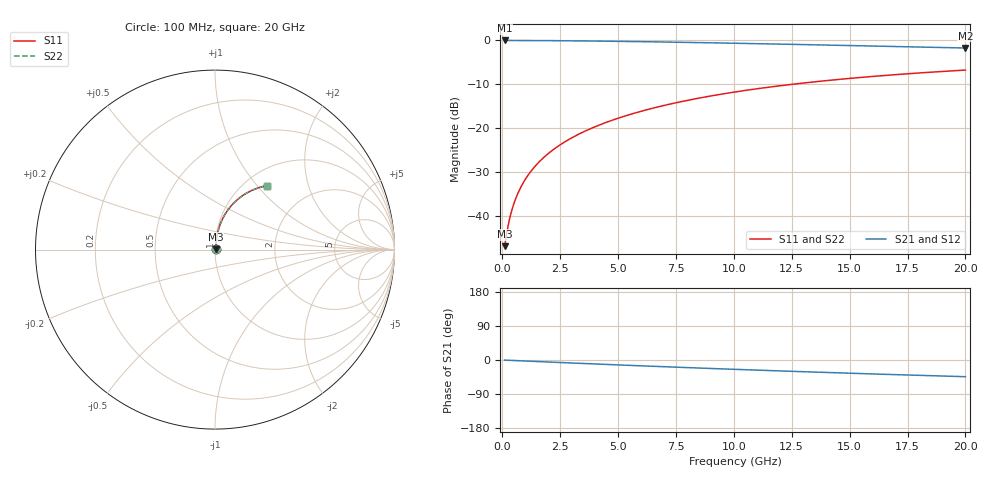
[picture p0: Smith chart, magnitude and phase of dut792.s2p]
! Touchstone file exported from HFSS 2024.1.0
!  File:  C:/UserFiles/LocalFiles/RDL_TSV_Batchsim/temp_RDL_top_792_1779853422.aedt
!  Generated:  11:46:14 AM May 27, 2026
!  Design:  RDL_top
!  Project:  temp_RDL_top_792_1779853422
!  Setup:  Setup1
!  Solution:  Sweep
! Variables:
!  dtsv = 10.80580581um
!  hbump = 3um
!  htsv = 55.52um
!  ldown = 100um
!  lrdl = 579.43um
!  p = 40
!  p1 = 54.85um
!  rhole = 1um
!  t = 450um
!  tdown = 3.915915916um
!  trdl = 3.42um
!  wdown = 15.38538539um
!  wrdl = 17.16um
# GHz S MA R 50.000000
! Terminal data exported
! Port[1] = Box2_T1
! Port[2] = Box2_T2
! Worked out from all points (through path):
!   200 points, 100 MHz to 20 GHz, reference 50 ohm
!   highest |S21| = -0.03 dB at 100 MHz (marker M1); lowest = -1.8 dB at 20 GHz (marker M2)
!   group delay of S21, straight-line fit = 6.1 ps
!   lowest |S11| = -46.9 dB at 100 MHz (marker M3), VSWR 1.01, Z = 50.4 + j0.274 ohm
!   |S11| at or under -10 dB: start of sweep to 12.54 GHz
!   |S22| runs from -46.9 to -6.8 dB; largest |S21 - S12| = 2e-15
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0.1  0.004545 36.8  0.9964 -0.3  0.9964 -0.3  0.004545 36.8
! Gamma 0 0 0 0
! Port Impedance 50 0 50 0
0.2  0.006581 55.3  0.9962 -0.6  0.9962 -0.6  0.006581 55.3
0.3  0.008935 64.1  0.9961 -0.8  0.9961 -0.8  0.008935 64.1
0.4  0.01138 69.1  0.9959 -1.1  0.9959 -1.1  0.01138 69.1
0.5  0.01385 72.3  0.9957 -1.4  0.9957 -1.4  0.01385 72.3
0.6  0.01633 74.5  0.9955 -1.6  0.9955 -1.6  0.01633 74.5
0.8  0.02132 77.3  0.9951 -2.2  0.9951 -2.2  0.02132 77.3
1.1  0.02888 79.7  0.9945 -2.9  0.9945 -2.9  0.02888 79.7
1.5  0.03904 81.2  0.9935 -4.0  0.9935 -4.0  0.03904 81.2
1.8  0.0467 81.7  0.9925 -4.8  0.9925 -4.8  0.0467 81.7
2.1  0.05441 82.0  0.9914 -5.6  0.9914 -5.6  0.0544 81.9
2.7  0.06989 81.9  0.9887 -7.1  0.9887 -7.1  0.06988 81.9
3.5  0.09066 81.3  0.9843 -9.2  0.9843 -9.2  0.09065 81.3
4.2  0.1089 80.5  0.9798 -11.0  0.9798 -11.0  0.1089 80.5
5  0.1298 79.3  0.9739 -13.0  0.9739 -13.0  0.1298 79.3
5.9  0.1533 77.8  0.9665 -15.2  0.9665 -15.2  0.1533 77.8
6.8  0.1767 76.2  0.9586 -17.3  0.9586 -17.3  0.1767 76.2
8.4  0.2176 73.2  0.9432 -21.0  0.9432 -21.0  0.2175 73.1
10.1  0.2596 69.8  0.9258 -24.8  0.9258 -24.8  0.2595 69.7
13.4  0.3352 63.1  0.8901 -31.7  0.8901 -31.7  0.3351 63.1
16.7  0.4016 56.8  0.8534 -38.1  0.8534 -38.1  0.4015 56.8
20  0.4585 50.9  0.8173 -44.1  0.8173 -44.1  0.4583 50.9
